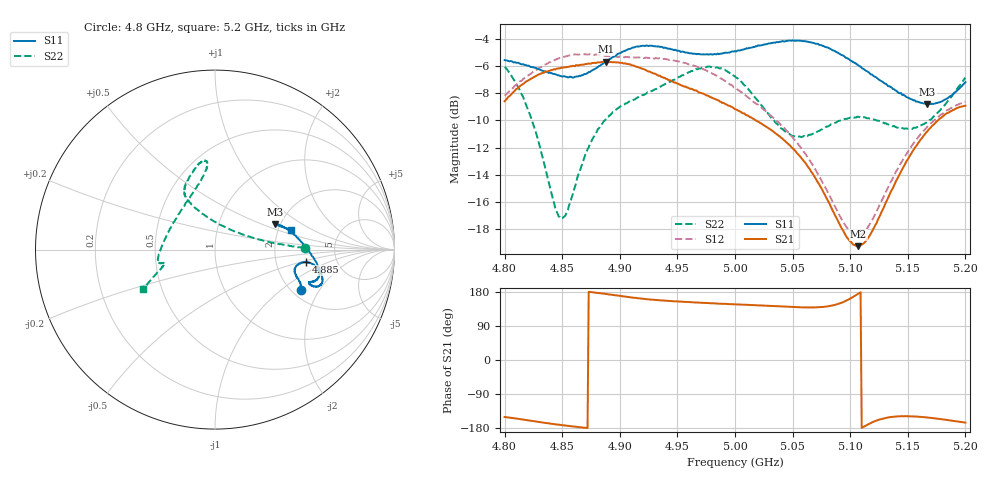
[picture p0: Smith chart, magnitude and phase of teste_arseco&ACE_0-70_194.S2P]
! Network Analyzer HP8722D
! Hewlett-Packard
! Data name: Linha & Wilkinson
! Saver's name: Rodrigo Anjos
! Comments: Teste da utilização de aquisição
! continua pelo VNA HP8722D
! Time and date: 8/5/2025 14:22
!  Frequency  S11  S21  S12  S22
# HZ  S  MA R 50
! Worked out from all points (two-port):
!   401 points, 4.8 GHz to 5.2 GHz, reference 50 ohm
!   highest |S21| = -5.65 dB at 4.888 GHz (marker M1); lowest = -19.3 dB at 5.107 GHz (marker M2)
!   |S21| within 3 dB of the highest: start of sweep to 4.988 GHz
!   lowest |S11| = -8.8 dB at 5.167 GHz (marker M3), VSWR 2.14, Z = 93.9 + j30.6 ohm
!   |S11| at or under -10 dB: nowhere
!   |S22| runs from -17.3 to -6.0 dB; largest |S21 - S12| = 1.1
!   S11 on the Smith chart (normalised r, x): 4.8 GHz: 2.23, -1.40; 4.885 GHz: 2.97, -0.56; 5.2 GHz: 2.35, +0.65
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4.8e9  0.529 -25.3  0.3726 -150.4  0.3904 9.0  0.4987 1.0
4.811e9  0.5169 -22.4  0.4148 -154.9  0.4328 7.5  0.4252 2.7
4.822e9  0.5005 -20.4  0.4489 -159.8  0.4685 5.8  0.3324 6.2
4.847e9  0.4648 -16.2  0.4932 -170.6  0.5367 1.9  0.1395 54.0
4.854e9  0.4584 -14.5  0.4989 -173.5  0.5468 0.7  0.1455 82.2
4.867e9  0.465 -10.9  0.5088 -178.0  0.5558 -1.0  0.2161 110.2
4.885e9  0.5109 -7.8  0.5212 175.6  0.5512 -2.3  0.3086 118.3
4.888e9  0.5211 -8.1  0.522 174.2  0.5486 -2.4  0.3204 118.9
4.913e9  0.5905 -11.7  0.5023 164.2  0.5414 -1.9  0.3781 116.4
4.934e9  0.5939 -16.3  0.4623 157.6  0.5376 -2.5  0.4196 110.7
4.976e9  0.5558 -19.2  0.3908 150.6  0.481 -6.3  0.5003 97.6
5e9  0.5713 -20.2  0.3482 146.7  0.4197 -6.3  0.461 96.0
5.044e9  0.6219 -18.3  0.2643 140.6  0.292 2.0  0.2871 131.9
5.067e9  0.6134 -13.9  0.2024 138.6  0.2179 9.0  0.2815 164.9
5.095e9  0.5459 -4.1  0.1212 154.2  0.1311 34.2  0.3201 -172.1
5.107e9  0.5063 1.7  0.1084 174.8  0.1188 57.3  0.3262 -168.1
5.117e9  0.4721 6.9  0.1187 -167.4  0.1308 76.4  0.321 -166.7
5.134e9  0.4238 15.0  0.1673 -151.0  0.1826 94.6  0.3034 -165.7
5.152e9  0.3805 21.5  0.2349 -148.4  0.2489 100.3  0.2947 -164.5
5.167e9  0.3634 22.9  0.2882 -151.8  0.2999 101.1  0.3129 -161.2
5.183e9  0.379 20.5  0.3343 -157.7  0.3421 101.1  0.3651 -156.9
5.2e9  0.4384 14.7  0.3586 -165.2  0.3714 101.5  0.4554 -151.1
